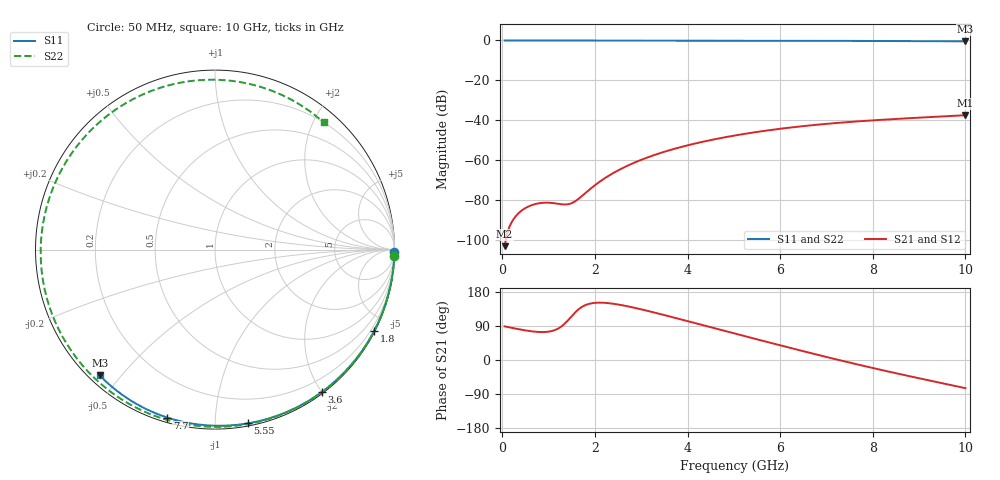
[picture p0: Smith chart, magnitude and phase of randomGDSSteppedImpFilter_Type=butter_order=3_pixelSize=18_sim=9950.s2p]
! freq	dB(S11)	phase(S11)	dB(S12)	phase(S12)
!  dB(S21)	phase(S21)	dB(S22)	phase(S22)
!S-par simulation data
#  GHz  S  DB  R 50
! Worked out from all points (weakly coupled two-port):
!   200 points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, 50 MHz to 10 GHz, reference 50 ohm
!   highest |S21| = -37.38 dB at 10 GHz (marker M1); lowest = -102.9 dB at 50 MHz (marker M2)
!   lowest |S11| = -0.4 dB at 10 GHz (marker M3), VSWR 39.57, Z = 1.51 - j22 ohm
!   |S11| at or under -10 dB: nowhere
!   |S22| runs from -0.6 to 0.0 dB; largest |S21 - S12| = 0
!   S11 on the Smith chart (normalised r, x): 50 MHz: open; 1.8 GHz: 0.04, -4.14; 3.6 GHz: 0.02, -2.00; 5.55 GHz: 0.02, -1.21; 7.7 GHz: 0.02, -0.76; 10 GHz: 0.03, -0.44
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0.05  -0.00 -0.8  -102.86 88.8  -102.86 88.8  -0.00 -1.9
0.75  -0.01 -11.4  -81.59 74.3  -81.59 74.3  -0.04 -28.0
1.2  -0.02 -18.2  -81.65 82.5  -81.65 82.5  -0.06 -44.4
1.6  -0.03 -24.2  -80.00 128.7  -80.00 128.7  -0.07 -58.5
1.75  -0.03 -26.4  -77.19 142.2  -77.19 142.2  -0.08 -63.6
1.8  -0.03 -27.1  -76.20 145.1  -76.20 145.1  -0.08 -65.4
2.15  -0.04 -32.3  -69.87 151.3  -69.87 151.3  -0.09 -77.1
2.5  -0.05 -37.4  -64.98 146.5  -64.98 146.5  -0.11 -88.5
2.95  -0.06 -43.9  -60.15 135.1  -60.15 135.1  -0.12 -102.6
3.4  -0.07 -50.3  -56.38 121.7  -56.38 121.7  -0.14 -116.1
3.6  -0.07 -53.1  -54.95 115.4  -54.95 115.4  -0.15 -122.0
4.35  -0.09 -63.4  -50.55 91.3  -50.55 91.3  -0.18 -143.4
5.05  -0.11 -72.7  -47.41 68.9  -47.41 68.9  -0.22 -162.7
5.55  -0.13 -79.2  -45.57 53.0  -45.57 53.0  -0.25 -176.4
6.1  -0.15 -86.2  -43.87 35.6  -43.87 35.6  -0.28 168.5
6.7  -0.18 -93.7  -42.35 17.1  -42.35 17.1  -0.32 151.7
7.2  -0.21 -99.8  -41.30 2.0  -41.30 2.0  -0.36 137.4
7.7  -0.24 -105.8  -40.41 -12.6  -40.41 -12.6  -0.39 122.7
8.35  -0.29 -113.5  -39.45 -30.8  -39.45 -30.8  -0.45 102.8
9.15  -0.36 -122.7  -38.42 -52.2  -38.42 -52.2  -0.52 77.3
9.55  -0.39 -127.3  -37.93 -62.6  -37.93 -62.6  -0.56 64.2
10  -0.44 -132.5  -37.38 -74.3  -37.38 -74.3  -0.61 49.5
